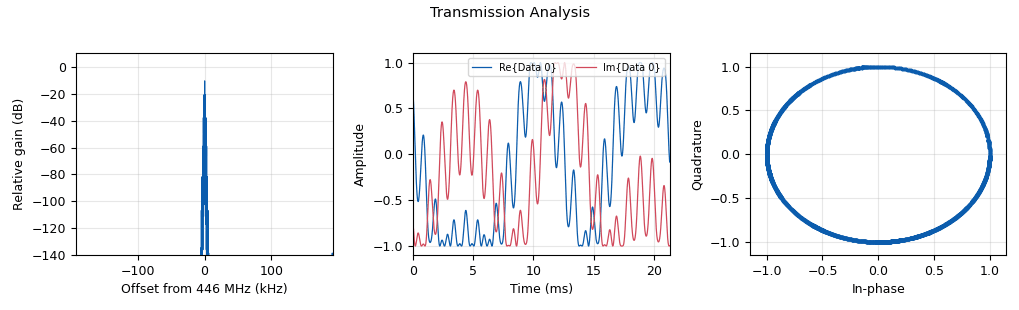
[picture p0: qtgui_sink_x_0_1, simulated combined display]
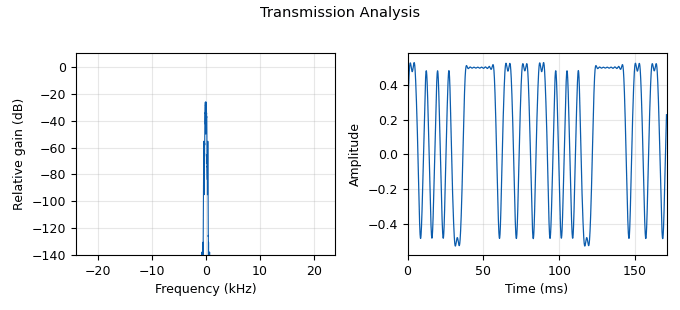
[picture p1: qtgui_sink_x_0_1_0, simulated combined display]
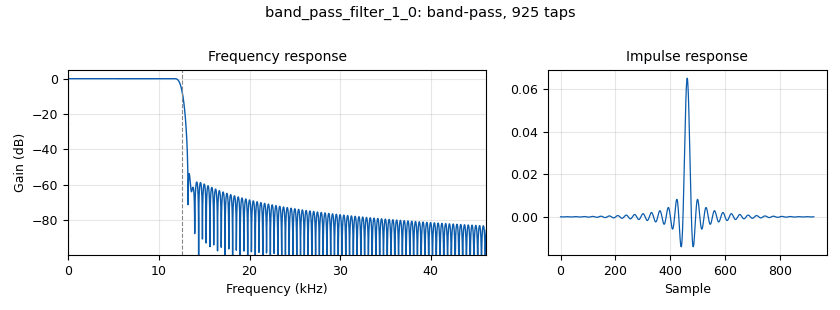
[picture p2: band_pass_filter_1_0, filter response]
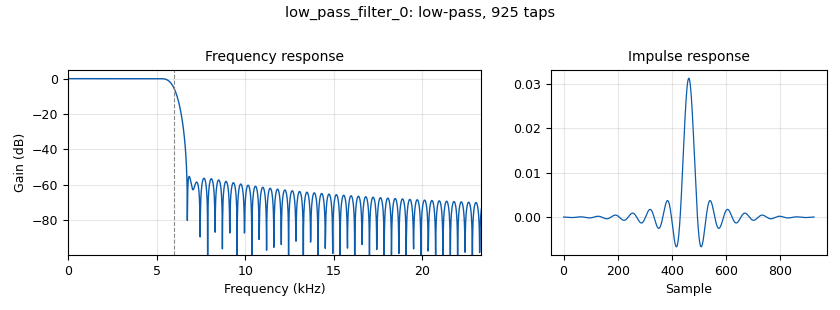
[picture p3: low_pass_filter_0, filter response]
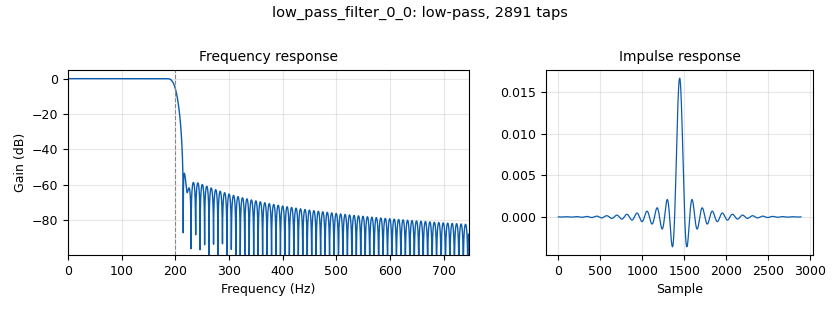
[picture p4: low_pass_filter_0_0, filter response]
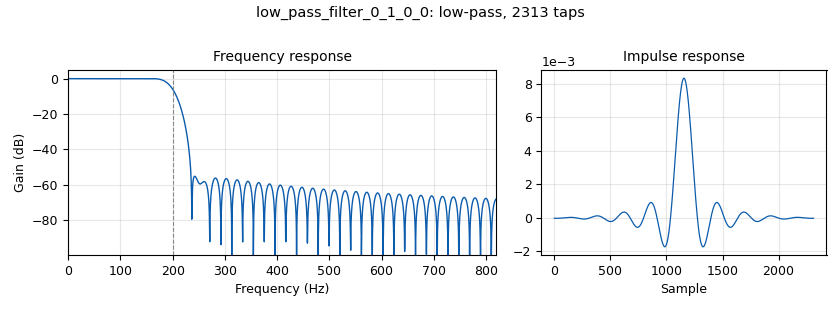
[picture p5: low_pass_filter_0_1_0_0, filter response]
options:
  parameters:
    generate_options: qt_gui
    id: untitled
    output_language: python
    realtime_scheduling: '1'
    title: Walkie Talkie
  states: {}

blocks:
- name: rf_gain
  id: variable_qtgui_range
  parameters:
    label: RF Gain
    outputmsgname: value
    showports: 'False'
    start: '0'
    step: '1'
    stop: '76'
    value: '40'
  states: {}
- name: samp_rate
  id: variable
  parameters:
    value: '384000'
  states: {}
- name: selected_channel
  id: variable_qtgui_chooser
  parameters:
    label: Channel
    labels: '["Channel 1", "Channel 2", "Channel 3", "Channel 4", "Channel 5", "Channel 6", "Channel 7", "Channel 8", ]'
    num_opts: '0'
    options: '[0,1, 2,3,4,5,6,7]'
    orient: Qt.QHBoxLayout
    type: int
    value: '0'
    widget: radio_buttons
  states: {}
- name: tuning
  id: variable
  parameters:
    value: '446000000'
  states: {}
- name: analog_const_source_x_0
  id: analog_const_source_x
  parameters:
    const: '0'
    type: float
  states: {}
- name: analog_nbfm_rx_0
  id: analog_nbfm_rx
  parameters:
    audio_rate: '48000'
    max_dev: 5e3
    quad_rate: '192000'
    tau: '75e-6'
  states: {}
- name: analog_nbfm_tx_0
  id: analog_nbfm_tx
  parameters:
    audio_rate: '24000'
    fh: '-1.0'
    max_dev: 5e3
    quad_rate: '384000'
    tau: '75e-6'
  states: {}
- name: analog_sig_source_x_0
  id: analog_sig_source_x
  parameters:
    amp: '0.5'
    freq: '1000'
    offset: '0'
    phase: '0'
    samp_rate: '24000'
    type: float
    waveform: analog.GR_SIN_WAVE
  states: {}
- name: analog_simple_squelch_cc_0
  id: analog_simple_squelch_cc
  parameters:
    alpha: '1'
    threshold: '-60'
  states: {}
- name: audio_sink_0
  id: audio_sink
  parameters:
    samp_rate: '48000'
  states: {}
- name: band_pass_filter_1_0
  id: band_pass_filter
  parameters:
    decim: '1'
    gain: '1'
    high_cutoff_freq: 1 + 12500*(selected_channel+1)
    low_cutoff_freq: 1 + 12500*selected_channel
    samp_rate: samp_rate
    type: fir_filter_ccf
    width: '1000'
    win: window.WIN_HAMMING
  states: {}
- name: blocks_add_const_vxx_0
  id: blocks_add_const_vxx
  parameters:
    const: '-0.5'
    type: float
  states: {}
- name: blocks_add_xx_0
  id: blocks_add_xx
  parameters:
    type: float
  states: {}
- name: blocks_char_to_float_0
  id: blocks_char_to_float
  parameters:
    scale: '1'
  states: {}
- name: blocks_char_to_float_1
  id: blocks_char_to_float
  parameters:
    scale: '1'
  states: {}
- name: blocks_freqshift_cc_1
  id: blocks_freqshift_cc
  parameters:
    freq: '-12500*selected_channel -5400'
    sample_rate: samp_rate
  states: {}
- name: blocks_magphase_to_complex_0
  id: blocks_magphase_to_complex
  parameters: {}
  states: {}
- name: blocks_moving_average_xx_0
  id: blocks_moving_average_xx
  parameters:
    length: '20000'
    max_iter: '20000'
    scale: 1/20000
    type: float
  states: {}
- name: blocks_moving_average_xx_0_0
  id: blocks_moving_average_xx
  parameters:
    length: '150'
    max_iter: '150'
    scale: 1/150
    type: float
  states: {}
- name: blocks_multiply_const_vxx_1
  id: blocks_multiply_const_vxx
  parameters:
    const: '0.2'
    type: float
  states: {}
- name: blocks_multiply_const_vxx_1_0
  id: blocks_multiply_const_vxx
  parameters:
    const: '0.05'
    type: float
  states: {}
- name: blocks_sub_xx_0
  id: blocks_sub_xx
  parameters:
    type: float
  states: {}
- name: blocks_vector_source_x_0
  id: blocks_vector_source_x
  parameters:
    repeat: 'True'
    type: byte
    vector: '[0]*178+[0]*178+[1]*178+[1]*178+[1]*178+[1]*178+[1]*178+[1]*178+[0]*178+[1]*178+[1]*178+[0]*178+[1]*178+[1]*178+[0]*178+[1]*178+[1]*178+[0]*178+[1]*178+[0]*178+[1]*178+[0]*178+[1]*178'
  states: {}
- name: digital_binary_slicer_fb_0
  id: digital_binary_slicer_fb
  parameters: {}
  states: {}
- name: digital_corr_est_cc_0
  id: digital_corr_est_cc
  parameters:
    mark_delay: '0'
    sps: '357'
    symbols: '[0]*357+[0]*357+[1]*357+[1]*357+[1]*357+[1]*357+[1]*357+[1]*357+[0]*357+[1]*357+[1]*357+[0]*357+[1]*357+[1]*357+[0]*357+[1]*357+[1]*357+[0]*357+[1]*357+[0]*357+[1]*357+[0]*357+[1]*357'
    threshold: '0.9'
    threshold_method: digital.THRESHOLD_ABSOLUTE
  states: {}
- name: low_pass_filter_0
  id: low_pass_filter
  parameters:
    cutoff_freq: '6000'
    decim: '1'
    gain: '1'
    samp_rate: samp_rate
    type: fir_filter_ccf
    width: '1000'
    win: window.WIN_HAMMING
  states: {}
- name: low_pass_filter_0_0
  id: low_pass_filter
  parameters:
    cutoff_freq: '200'
    decim: '1'
    gain: '1'
    samp_rate: '24000'
    type: fir_filter_fff
    width: '20'
    win: window.WIN_HAMMING
  states: {}
- name: low_pass_filter_0_1
  id: low_pass_filter
  parameters:
    cutoff_freq: '6000'
    decim: '2'
    gain: '1'
    samp_rate: samp_rate
    type: fir_filter_ccf
    width: '1000'
    win: window.WIN_HAMMING
  states: {}
- name: low_pass_filter_0_1_0_0
  id: low_pass_filter
  parameters:
    cutoff_freq: '200'
    decim: '1'
    gain: '1'
    samp_rate: '48000'
    type: fir_filter_fff
    width: '50'
    win: window.WIN_HAMMING
  states: {}
- name: low_pass_filter_0_1_0_0_0
  id: low_pass_filter
  parameters:
    cutoff_freq: '200'
    decim: '1'
    gain: '1'
    samp_rate: '48000'
    type: fir_filter_fff
    width: '50'
    win: window.WIN_HAMMING
  states: {}
- name: qtgui_sink_x_0_1
  id: qtgui_sink_x
  parameters:
    bw: samp_rate
    fc: tuning
    fftsize: '8192'
    name: '"Transmission Analysis"'
    rate: '100'
    showrf: 'True'
    type: complex
  states: {}
- name: qtgui_sink_x_0_1_0
  id: qtgui_sink_x
  parameters:
    bw: '48000'
    fc: '0'
    fftsize: '8192'
    name: '"Transmission Analysis"'
    rate: '100'
    type: float
  states: {}
- name: qtgui_sink_x_0_1_0_0
  id: qtgui_sink_x
  parameters:
    bw: samp_rate
    fc: tuning
    fftsize: '8192'
    name: '"Shifted Freq"'
    rate: '100'
    showrf: 'True'
    type: complex
  states: {}
- name: qtgui_sink_x_0_1_0_0_0
  id: qtgui_sink_x
  parameters:
    bw: samp_rate
    fc: tuning
    fftsize: '8192'
    name: '"Shifted Freq"'
    rate: '100'
    showrf: 'True'
    type: complex
  states: {}
- name: qtgui_sink_x_0_1_0_0_0_0
  id: qtgui_sink_x
  parameters:
    bw: '48000'
    fc: '0'
    fftsize: '8192'
    name: '"Shifted Freq"'
    rate: '100'
    showrf: 'True'
    type: complex
  states: {}
- name: qtgui_sink_x_0_1_0_0_1_0
  id: qtgui_sink_x
  parameters:
    bw: '48000'
    fc: '0'
    fftsize: '32768'
    name: '"Shifted Freq"'
    rate: '100'
    type: float
  states: {}
- name: qtgui_sink_x_0_1_0_0_1_0_0
  id: qtgui_sink_x
  parameters:
    bw: '48000'
    fc: '0'
    fftsize: '32768'
    name: '"Shifted Freq"'
    rate: '100'
    type: float
  states: {}
- name: uhd_usrp_sink_0
  id: uhd_usrp_sink
  parameters:
    ant0: '"TX/RX"'
    bw0: '384000'
    center_freq0: tuning+6250+12500
    gain0: rf_gain
    samp_rate: '384000'
    sync: sync
    type: fc32
  states: {state: disabled}
- name: uhd_usrp_source_0
  id: uhd_usrp_source
  parameters:
    ant0: '"RX2"'
    bw0: samp_rate
    center_freq0: tuning
    gain0: '25'
    rx_agc0: Disabled
    samp_rate: samp_rate
    sync: none
    type: fc32
  states: {}

connections:
- [analog_const_source_x_0, '0', blocks_magphase_to_complex_0, '1']
- [analog_nbfm_rx_0, '0', audio_sink_0, '0']
- [analog_nbfm_rx_0, '0', low_pass_filter_0_1_0_0, '0']
- [analog_nbfm_tx_0, '0', low_pass_filter_0, '0']
- [analog_sig_source_x_0, '0', blocks_multiply_const_vxx_1, '0']
- [analog_simple_squelch_cc_0, '0', analog_nbfm_rx_0, '0']
- [band_pass_filter_1_0, '0', blocks_freqshift_cc_1, '0']
- [blocks_add_const_vxx_0, '0', low_pass_filter_0_0, '0']
- [blocks_add_xx_0, '0', analog_nbfm_tx_0, '0']
- [blocks_char_to_float_0, '0', blocks_magphase_to_complex_0, '0']
- [blocks_char_to_float_0, '0', qtgui_sink_x_0_1_0_0_1_0_0, '0']
- [blocks_char_to_float_1, '0', blocks_add_const_vxx_0, '0']
- [blocks_freqshift_cc_1, '0', low_pass_filter_0_1, '0']
- [blocks_magphase_to_complex_0, '0', digital_corr_est_cc_0, '0']
- [blocks_moving_average_xx_0, '0', blocks_sub_xx_0, '1']
- [blocks_moving_average_xx_0_0, '0', blocks_multiply_const_vxx_1_0, '0']
- [blocks_moving_average_xx_0_0, '0', qtgui_sink_x_0_1_0, '0']
- [blocks_multiply_const_vxx_1, '0', blocks_add_xx_0, '0']
- [blocks_multiply_const_vxx_1_0, '0', blocks_add_xx_0, '1']
- [blocks_sub_xx_0, '0', low_pass_filter_0_1_0_0_0, '0']
- [blocks_vector_source_x_0, '0', blocks_char_to_float_1, '0']
- [digital_binary_slicer_fb_0, '0', blocks_char_to_float_0, '0']
- [digital_corr_est_cc_0, '0', qtgui_sink_x_0_1_0_0_0_0, '0']
- [low_pass_filter_0, '0', qtgui_sink_x_0_1, '0']
- [low_pass_filter_0, '0', uhd_usrp_sink_0, '0']
- [low_pass_filter_0_0, '0', blocks_moving_average_xx_0_0, '0']
- [low_pass_filter_0_1, '0', analog_simple_squelch_cc_0, '0']
- [low_pass_filter_0_1, '0', qtgui_sink_x_0_1_0_0_0, '0']
- [low_pass_filter_0_1_0_0, '0', blocks_moving_average_xx_0, '0']
- [low_pass_filter_0_1_0_0, '0', blocks_sub_xx_0, '0']
- [low_pass_filter_0_1_0_0, '0', qtgui_sink_x_0_1_0_0_1_0, '0']
- [low_pass_filter_0_1_0_0_0, '0', digital_binary_slicer_fb_0, '0']
- [uhd_usrp_source_0, '0', band_pass_filter_1_0, '0']
- [uhd_usrp_source_0, '0', qtgui_sink_x_0_1_0_0, '0']

metadata:
  file_format: 1
  grc_version: 3.10.4.0
